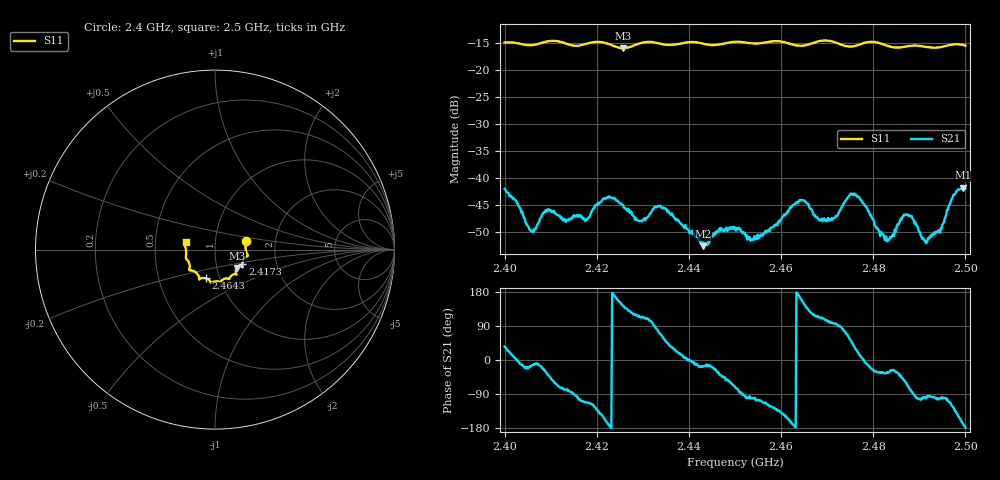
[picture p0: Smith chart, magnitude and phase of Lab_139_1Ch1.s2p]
# Hz S RI R 50
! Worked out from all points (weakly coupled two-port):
!   601 points, 2.4 GHz to 2.5 GHz, reference 50 ohm
!   highest |S21| = -41.76 dB at 2.4995 GHz (marker M1); lowest = -52.6 dB at 2.443 GHz (marker M2)
!   lowest |S11| = -15.9 dB at 2.4257 GHz (marker M3), VSWR 1.38, Z = 62.4 - j13.1 ohm
!   |S11| at or under -10 dB: start of sweep to end of sweep
!   S12 and S22 are empty: the file has one direction only
!   S11 on the Smith chart (normalised r, x): 2.4 GHz: 1.41, +0.14; 2.4173 GHz: 1.34, -0.23; 2.4643 GHz: 0.86, -0.28; 2.5 GHz: 0.72, +0.06
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2.4e9  0.1733 0.0494  0.00648 0.00461  0 0  0 0
2.405833e9  0.1701 0.00322  0.00317 -0.000839  0 0  0 0
2.4095e9  0.1829 -0.0306  0.00394 -0.00336  0 0  0 0
2.416667e9  0.1531 -0.0747  -0.00138 -0.00411  0 0  0 0
2.417333e9  0.1525 -0.0822  -0.00149 -0.00383  0 0  0 0
2.422167e9  0.1502 -0.0944  -0.00637 -0.00181  0 0  0 0
2.425667e9  0.1225 -0.102  -0.0045 0.00337  0 0  0 0
2.429333e9  0.117 -0.1331  -0.00162 0.00366  0 0  0 0
2.433333e9  0.113 -0.1369  0.00138 0.00529  0 0  0 0
2.443e9  0.0697 -0.1619  0.00223 -0.000712  0 0  0 0
2.45e9  0.0297 -0.1808  0.00115 -0.00331  0 0  0 0
2.454833e9  0.00335 -0.1766  -0.000708 -0.00263  0 0  0 0
2.464333e9  -0.0503 -0.1603  -0.0059 0.00206  0 0  0 0
2.466667e9  -0.0762 -0.1596  -0.00279 0.00428  0 0  0 0
2.471e9  -0.0869 -0.1632  -0.000653 0.00423  0 0  0 0
2.475667e9  -0.1133 -0.1218  0.00539 0.00449  0 0  0 0
2.483333e9  -0.1408 -0.0893  0.00226 -0.00141  0 0  0 0
2.487167e9  -0.1563 -0.0552  0.00224 -0.00398  0 0  0 0
2.491833e9  -0.1609 -0.027  -0.000266 -0.00271  0 0  0 0
2.4945e9  -0.163 0.00452  -0.000591 -0.00307  0 0  0 0
2.4995e9  -0.1665 0.039  -0.00802 -0.00155  0 0  0 0
2.5e9  -0.1636 0.0422  -0.00793 -0.000288  0 0  0 0
